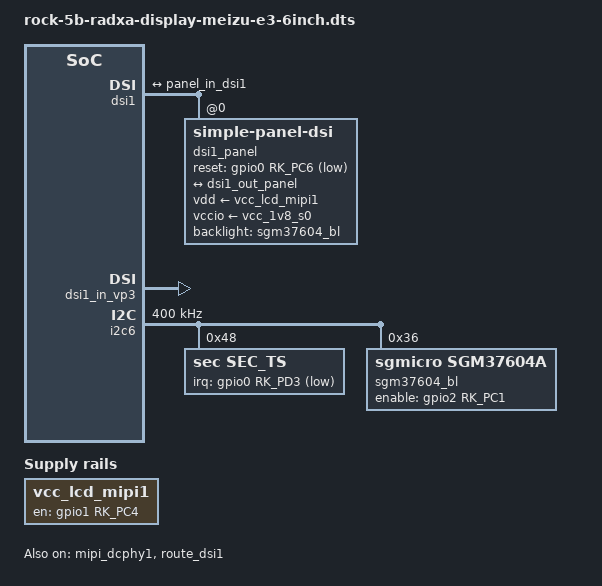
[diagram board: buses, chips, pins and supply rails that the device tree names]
/dts-v1/;
/plugin/;

#include <dt-bindings/interrupt-controller/irq.h>
#include <dt-bindings/gpio/gpio.h>
#include <dt-bindings/pinctrl/rockchip.h>
#include <dt-bindings/display/drm_mipi_dsi.h>

/ {
	metadata {
		title ="Enable Meizu E3 1080x2160@6inch Display";
		compatible = "radxa,rock-5b";
		category = "display";
		exclusive = "dsi1";
		description = "Enable Meizu E3 1080x2160@6inch Display.";
	};

	fragment@0 {
		target-path = "/";

		__overlay__ {
			vcc_lcd_mipi1: vcc-lcd-mipi1 {
				status = "okay";
				compatible = "regulator-fixed";
				regulator-name = "vcc_lcd_mipi1";
				gpio = <&gpio1 RK_PC4 GPIO_ACTIVE_HIGH>;
				enable-active-high;
				regulator-boot-on;
				regulator-always-on;
				regulator-state-mem {
					regulator-off-in-suspend;
				};
			};
		};
	};

	fragment@1 {
		target = <&pwm2>;

		__overlay__ {
			//status = "okay";
			//pinctrl-names = "active";
			//pinctrl-0 = <&pwm2m2_pins>;
		};
	};

	fragment@2 {
		target = <&dsi1>;

		__overlay__ {
			status = "okay";
			//rockchip,lane-rate = <480>;
			#address-cells = <1>;
			#size-cells = <0>;

			dsi1_panel: panel@0 {
				status = "okay";
				compatible = "simple-panel-dsi";
				reg = <0>;
				backlight = <&sgm37604_bl>;

				vdd-supply = <&vcc_lcd_mipi1>;
				vccio-supply = <&vcc_1v8_s0>;
				pinctrl-names = "default";
				pinctrl-0 = <&dsi1_lcd_rst_gpio>;
				reset-gpios = <&gpio0 RK_PC6 GPIO_ACTIVE_LOW>;
				
				prepare-delay-ms = <40>;
				reset-delay-ms = <60>;
				init-delay-ms = <80>;
				stbyb-delay-ms = <20>;
				enable-delay-ms = <60>;
				disable-delay-ms = <20>;
				unprepare-delay-ms = <20>;
				width-mm = <135>;
				height-mm = <216>;
				
				dsi,flags = <(MIPI_DSI_MODE_VIDEO | MIPI_DSI_MODE_VIDEO_BURST | MIPI_DSI_MODE_LPM | MIPI_DSI_MODE_NO_EOT_PACKET | MIPI_DSI_CLOCK_NON_CONTINUOUS)>;
				//dsi,flags = <(MIPI_DSI_MODE_VIDEO | MIPI_DSI_MODE_VIDEO_BURST | MIPI_DSI_MODE_LPM | MIPI_DSI_MODE_NO_EOT_PACKET)>;
				dsi,format = <MIPI_DSI_FMT_RGB888>;
				dsi,lanes  = <4>;
				panel-init-sequence = [
					05 78 01 11
					05 0A 01 29
				];

				panel-exit-sequence = [
					05 10 01 28
					05 78 01 10
				];

				disp_timings0: display-timings {
					native-mode = <&dsi_timing0>;
					dsi_timing0: timing0 {
						clock-frequency = <157000000>;
						hactive = <1080>;
						hfront-porch = <115>;
						hback-porch = <13>;
						hsync-len = <3>;
						vactive = <2160>;
						vfront-porch = <10>;
						vback-porch = <10>;
						vsync-len = <2>;
						hsync-active = <0>;
						vsync-active = <0>;
						de-active = <0>;
						pixelclk-active = <0>;
					};
				};
				
				ports {
					#address-cells = <1>;
					#size-cells = <0>;

					port@0 {
						reg = <0>;
						panel_in_dsi1: endpoint {
							remote-endpoint = <&dsi1_out_panel>;
						};
					};
				};
			};

			ports {
				#address-cells = <1>;
				#size-cells = <0>;

				port@1 {
					reg = <1>;
					dsi1_out_panel: endpoint {
						remote-endpoint = <&panel_in_dsi1>;
					};
				};
			};
		};
	};

	fragment@3 {
		target = <&mipi_dcphy1>;

		__overlay__ {
			status = "okay";
		};
	};

	fragment@4 {
		target = <&route_dsi1>;

		__overlay__ {
			status = "okay";
			connect = <&vp3_out_dsi1>;
		};
	};

	fragment@5 {
		target = <&dsi1_in_vp2>;

		__overlay__ {
			status = "disabled";
		};
	};

	fragment@6 {
		target = <&dsi1_in_vp3>;

		__overlay__ {
			status = "okay";
		};
	};

	fragment@7 {
		target = <&i2c6>;

		__overlay__ {
			status = "okay";
			pinctrl-names = "default";
			pinctrl-0 = <&i2c6m0_xfer>;
			clock-frequency = <400000>;
			#address-cells = <1>;
			#size-cells = <0>;

			sec_ts: sec_ts@48 {
				compatible = "sec,sec_ts";
				reg = <0x48>;
				status = "okay";
				pinctrl-names = "default";
				pinctrl-0 = <&ts_irq>;
				sec,irq_gpio = <&gpio0 RK_PD3 GPIO_ACTIVE_LOW>;
				sec,max_coords = <1080>, <2160>;
			};
			
			sgm37604_bl: backlight@36 {
				compatible = "sgmicro,sgm37604a";
				reg = <0x36>;
				status = "okay";
				pinctrl-names = "default";
				pinctrl-0 = <&dsi1_backlight_en>;
				sgmicro,led-channels = <0x07>;  // bit0 for dev_en and bit1~bit4 for led_channel1~led_channel4
				sgmicro,max-current = <0>;      // 00->25ma 01->30ma 10->35ma 11->40ma
				default-brightness-level = <128>;
				enable-gpios = <&gpio2 RK_PC1 GPIO_ACTIVE_HIGH>;
			};
		};
	};

	fragment@8 {
		target = <&pinctrl>;

		__overlay__ {
			dsi1-lcd {
				dsi1_lcd_rst_gpio: dsi1-lcd-rst-gpio {
					rockchip,pins = <0 RK_PC6 RK_FUNC_GPIO &pcfg_pull_none>; // <0 RK_PC6 RK_FUNC_GPIO &pcfg_pull_none> TP_RST_L  //<2 RK_PC1 RK_FUNC_GPIO &pcfg_pull_up> LCD_RST
				};

				dsi1_backlight_en: dsi1-backlight-en {
					rockchip,pins = <2 RK_PC1 RK_FUNC_GPIO &pcfg_pull_up>;  // <2 RK_PC2 RK_FUNC_GPIO &pcfg_pull_up> PWM_EN
				};
			};

			touch {
				ts_irq: ts-irq {
					rockchip,pins = <0 RK_PD3 RK_FUNC_GPIO &pcfg_pull_up>; //TP_INT_L
				};
			};
		};
	};
};
